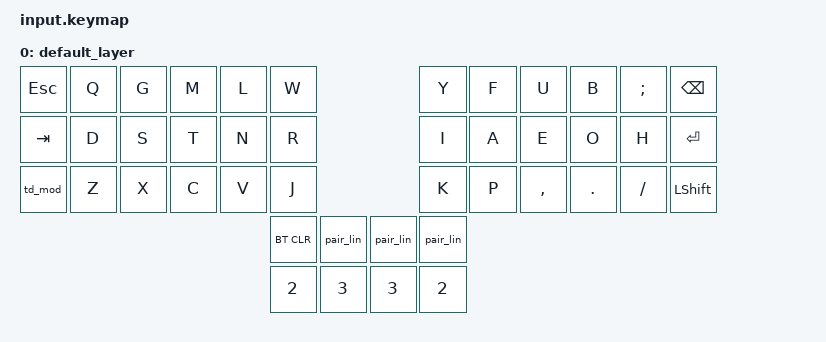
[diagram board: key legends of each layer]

#include <behaviors.dtsi>
#include <dt-bindings/zmk/keys.h>
#include <dt-bindings/zmk/bt.h>
#include <dt-bindings/zmk/reset.h>
#include <dt-bindings/zmk/ext_power.h>  

#define RIGHT_HAND_KEYS <6 7 8 9 10 11 18 19 20 21 22 23 30 31 32 33 34 35>
#define LEFT_HAND_KEYS <0 1 2 3 4 5 12 13 14 15 16 17 24 25 26 27 28 29>
#define HRM_TAPPING_TERM_MS 200
#define HRM_QUICK_TAP_MS 150

//Layers
#define NAV 2
#define SYM 3
#define SLACK_REACT 4
#define FUN 5
#define NUM 6
#define MEDIA 7
#define SYSTEM 8

/*
Thumb Key Guide

LTHUMB            RTHUMB
┌───┬───┐      ┌───┬───┐
│ 0 │ 1 │      │ 1 │ 0 │
├───┼───┤      ├───┼───┤
│ 2 │ 3 │      │ 3 │ 2 │
└───┴───┘      └───┴───┘
*/
#define LTHUMB0 36
#define LTHUMB1 37
#define RTHUMB1 38
#define RTHUMB0 39
#define LTHUMB2 40
#define LTHUMB3 41
#define RTHUMB3 42
#define RTHUMB2 43


/ {
     macros {
        pair_mac: pair_mac {
            label = "Pair_Mac";
            compatible = "zmk,behavior-macro";
            #binding-cells = <0>;
            bindings = <&bt BT_SEL 1>, <&metaset 1> ;
        };
        pair_lin: pair_lin {
            label = "Pair_Linux";
            compatible = "zmk,behavior-macro";
            #binding-cells = <0>;
            bindings = <&bt BT_SEL 0>, <&metaset 0>;
        };

        // ac_config: ac_config {
        //     label = "auto_complete_config";
        //     compatible = "zmk,behavior-macro";
        //     #binding-cells = <0>;
        //     bindings = <&kp O &kp N &kp F &kp I &kp G &kp U &kp R &kp A &kp T &kp I &kp O &kp N>;
        // };
        // ac_query: ac_query {
        //     label = "auto_complete_query";
        //     compatible = "zmk,behavior-macro";
        //     #binding-cells = <0>;
        //     bindings = <&kp U &kp E &kp R &kp Y>;
        // };
        // ac_object: ac_object {
        //     label = "auto_complete_object";
        //     compatible = "zmk,behavior-macro";
        //     #binding-cells = <0>;
        //     bindings = <&kp B &kp J &kp E &kp C &kp T>;
        // };
        // ac_which: ac_which {
        //     label = "auto_complete_which";
        //     compatible = "zmk,behavior-macro";
        //     #binding-cells = <0>;
        //     bindings = <&kp H &kp I &kp C &kp H>;
        // };
    };

    behaviors {        
        // tap dance mods
        td_mod: tap_dance_mod_tap {
            compatible = "zmk,behavior-tap-dance";
            label = "TAP_DANCE_MOD_TAP";
            #binding-cells = <0>;
            tapping-term-ms = <200>;
            bindings = <&meta LCTL LGUI>, <&meta LALT LCTL>, <&meta LGUI LALT>;
        };

        // magic: magic_key {
        //     compatible = "zmk,behavior-antecedent-morph";
        //     label = "MAGIC_KEY";
        //     #binding-cells = <0>;
        //     defaults = <&td_mod>;
        //     antecedents = <B L D C V N R T S G X Q M W Z J F O U Y H A E I K P>;
        //     bindings = 
        //                /*B*/<&kp R>,//
        //                /*L*/<&kp W>,//
        //                /*D*/<&kp G>,//
        //                /*C*/<&ac_config>,//
        //                /*V*/<&kp S>,//

        //                /*N*/<&kp G>,//
        //                /*R*/<&kp L>,//
        //                /*T*/<&kp T>,//
        //                /*S*/<&kp C>,//
        //                /*G*/<&kp N>,// alt: R


        //                /*X*/<&kp C>,//
        //                /*Q*/<&ac_query>,//alt: U, L
        //                /*M*/<&kp T>,//
        //                /*W*/<&ac_which>,//
        //                /*Z*/<&kp S>,//alt: L

        //                /*J*/<&kp I>,//alt: U
        //                /*F*/<&kp Y>,//alt: I
        //                /*O*/<&ac_object>,//
        //                /*U*/<&kp E>,//

        //                /*Y*/<&kp P>,//alt: I
        //                /*H*/<&kp Y>,//
        //                /*A*/<&kp O>,//
        //                /*E*/<&kp Y>,//alt: P
        //                /*I*/<&kp F>,//alt: P

        //                /*P*/<&kp H>,//
        //                /*K*/<&kp Y>//
        //                ;
        //     max-delay-ms = <250>;
        // };
    };

    // combos {
    //     /*
    //     Thumb Key Guide
        
    //     LTHUMB            RTHUMB
    //     ┌───┬───┐      ┌───┬───┐
    //     │ 0 │ 1 │      │ 1 │ 0 │
    //     ├───┼───┤      ├───┼───┤
    //     │ 2 │ 3 │      │ 3 │ 2 │
    //     └───┴───┘      └───┴───┘
    //     */
    //     compatible = "zmk,combos";
    //     combo_slack_react {
    //         /*
    //         ┌───┬───┐      ┌───┬───┐
    //         │   │   │      │   │   │
    //         ├───┼───┤      ├───┼───┤
    //         │ X │   │      │   │ X │
    //         └───┴───┘      └───┴───┘
    //         */
    //         timeout-ms = <50>;
    //         key-positions = <LTHUMB2 RTHUMB2>;
    //         bindings = <&mo SLACK_REACT>;
    //     };
    //     combo_functions {
    //         /*
    //         ┌───┬───┐      ┌───┬───┐
    //         │   │   │      │   │   │
    //         ├───┼───┤      ├───┼───┤
    //         │   │ X │      │ X │   │
    //         └───┴───┘      └───┴───┘
    //         */
    //         timeout-ms = <50>;
    //         key-positions = <LTHUMB3 RTHUMB3>;
    //         bindings = <&mo FUN>;
    //     };
    //     combo_numbers_l {
    //         /*
    //         ┌───┬───┐      ┌───┬───┐
    //         │   │   │      │   │   │
    //         ├───┼───┤      ├───┼───┤
    //         │ X │ X │      │   │   │
    //         └───┴───┘      └───┴───┘
    //         */
    //         timeout-ms = <50>;
    //         key-positions = <LTHUMB2 LTHUMB3>;
    //         bindings = <&mo NUM>;
    //     };
    //     combo_numbers_r {
    //         /*
    //         ┌───┬───┐      ┌───┬───┐
    //         │   │   │      │   │   │
    //         ├───┼───┤      ├───┼───┤
    //         │   │   │      │ X │ X │
    //         └───┴───┘      └───┴───┘
    //         */
    //         timeout-ms = <50>;
    //         key-positions = <RTHUMB2 RTHUMB3>;
    //         bindings = <&mo NUM>;
    //     };
    //     combo_media_r {
    //         /*
    //         ┌───┬───┐      ┌───┬───┐
    //         │   │   │      │   │ X │
    //         ├───┼───┤      ├───┼───┤
    //         │   │   │      │   │ X │
    //         └───┴───┘      └───┴───┘
    //         */
    //         timeout-ms = <50>;
    //         key-positions = <RTHUMB0 RTHUMB2>;
    //         bindings = <&mo MEDIA>;
    //     };
    //     combo_media_l {
    //         /*
    //         ┌───┬───┐      ┌───┬───┐
    //         │ X │   │      │   │   │
    //         ├───┼───┤      ├───┼───┤
    //         │ X │   │      │   │   │
    //         └───┴───┘      └───┴───┘
    //         */
    //         timeout-ms = <50>;
    //         key-positions = <LTHUMB0 LTHUMB2>;
    //         bindings = <&mo MEDIA>;
    //     };
    //     combo_system {
    //         /*
    //         ┌───┬───┐      ┌───┬───┐
    //         │   │   │      │   │   │
    //         ├───┼───┤      ├───┼───┤
    //         │ x │ x │      │ x │ x │
    //         └───┴───┘      └───┴───┘
    //         */
    //         timeout-ms = <50>;
    //         key-positions = <LTHUMB2 LTHUMB3 RTHUMB2 RTHUMB3>;
    //         bindings = <&mo SYSTEM>;
    //     };
    // };

    keymap {
        compatible = "zmk,keymap";

         default_layer {
/*  QGMLWY
    Left Hand                                                     Right Hand
    ┌────────┬────────┬─────────┬────────┬────────┬────────┐      ┌────────┬────────┬────────┬────────┬────────┬────────┐
    │  ESC   │    Q   │   G     │   M    │   L    │   W    │      │    Y   │   F    │   U    │    B   │   ;    │ BKSPC  │
    ├────────┼────────┼─────────┼────────┼────────┼────────┤      ├────────┼────────┼────────┼────────┼────────┼────────┤
    │  TAB   │    D   │   S     │   T    │   N    │   R    |      │    I   │   A    │   E    │    O   │   H    │ ENTER  │
    ├────────┼────────┼─────────┼────────┼────────┼────────┤      ├────────┼────────┼────────┼────────┼────────┼────────┤
    │Ctrl/Cmd│    Z   │   X     │   C    │   V    │   J    │      │    K   │   P    │   , <  │  . >   │   / ?  │Ctrl/Cmd│
    └────────┴────────┴─────────┴────────┴────────┴────────┘      └────────┴────────┴────────┴────────┴────────┴────────┘

 */
                        bindings = <
&kp  ESC  &kp Q  &kp G  &kp M  &kp L  &kp W                                           &kp Y  &kp F  &kp U      &kp B    &kp SEMI   &kp BSPC
&kp  TAB  &kp D  &kp S  &kp T  &kp N  &kp R                                           &kp I  &kp A  &kp E      &kp O    &kp H      &kp ENTER
&td_mod   &kp Z  &kp X  &kp C  &kp V  &kp J                                           &kp K  &kp P  &kp COMMA  &kp DOT  &kp SLASH  &kp LSHIFT

                                            &bt BT_CLR    &pair_lin  &pair_lin  &pair_lin
                                            &kp N2   &kp N3    &kp N3    &kp N2
                                            /* &magic    &kp SPACE  &kp SPACE  &kp RSHIFT
                                             &mo SYM   &mo NAV    &mo NAV    &mo SYM*/
            >;
        };

//          galliumv2 {
// /*  QGMLWY
//     Left Hand                                                     Right Hand
//     ┌────────┬────────┬─────────┬────────┬────────┬────────┐      ┌────────┬────────┬────────┬────────┬────────┬────────┐
//     │  ESC   │    B   │   L     │   D    │   C    │   V    │      │    J   │   F    │    O   │    U   │   ;    │ BKSPC  │
//     ├────────┼────────┼─────────┼────────┼────────┼────────┤      ├────────┼────────┼────────┼────────┼────────┼────────┤
//     │  TAB   │    N   │   R     │   T    │   S    │   G    |      │    Y   │   H    │    A   │    E   │   I    │ ENTER  │
//     ├────────┼────────┼─────────┼────────┼────────┼────────┤      ├────────┼────────┼────────┼────────┼────────┼────────┤
//     │Ctrl/Cmd│    X   │   Q     │   M    │   W    │   Z    │      │    K   │   P    │    .   │    ,   │   / ?  │Ctrl/Cmd│
//     └────────┴────────┴─────────┴────────┴────────┴────────┘      └────────┴────────┴────────┴────────┴────────┴────────┘

//  */
//                         bindings = <
// &trans   &kp B  &kp L  &kp D  &kp C   &kp V                                             &kp J  &kp F   &kp O    &kp U      &kp SEMI   &trans
// &trans   &kp N  &kp R  &kp T  &kp S   &kp G                                             &kp Y  &kp H   &kp A    &kp E      &kp I      &trans
// &trans   &kp X  &kp Q  &kp M  &kp W   &kp Z                                             &kp K  &kp P   &kp DOT  &kp COMMA  &kp SLASH  &trans
//                                             &trans     &trans        &trans     &trans
//                                             &trans     &trans        &trans     &trans
//             >;
//         };

//         navigation {
// /*
// /* Navigation
//     ┌────────┬─────────┬─────────┬─────────┬─────────┬─────────┐      ┌────────┬─────────┬─────────┬─────────┬─────────┬────────┐
//     │        │ shift+` │backspace│   UP    │   DEL   │ctl/alt+K│      │        │   HOME  │   undo  │   redo  │scrnshot │        │
//     ├────────┼─────────┼─────────┼─────────┼─────────┼─────────┤      ├────────┼─────────┼─────────┼─────────┼─────────┼────────┤
//     │        |shift+tab│   left  │  down   │  right  │ctl/alt+J|      │        │   END   │ alt/cmd │ctrl/alt │  shift  │        │
//     ├────────┼─────────┼─────────┼─────────┼─────────┼─────────┤      ├────────┼─────────┼─────────┼─────────┼─────────┼────────┤
//     │        │         │   CUT   │  COPY   │  PASTE  │         │      │        │         │         │         │         │        │
//     └────────┴─────────┴─────────┴─────────┴─────────┴─────────┘      └────────┴─────────┴─────────┴─────────┴─────────┴────────┘

//  */
//                         bindings = <
// &trans   &kp LS(GRAVE)  &kp BSPC           &kp UP             &kp DEL            &meta LC(K) LA(K)                                  &none   &kp HOME &meta LC(Z) LG(Z) &meta LC(Y) LG(Y) &meta PSCRN LC(LG(LS(N4)))  &trans
// &trans   &kp  LS(TAB)   &kp LEFT           &kp DOWN           &kp RIGHT          &meta LC(J) LA(J)                                  &none   &kp END  &meta LALT LGUI   &meta LCTL LALT   &kp LSHIFT                  &trans
// &trans   &none          &meta LC(X) LG(X)  &meta LC(C) LG(C)  &meta LC(V) LG(V)  &none                                              &none   &none    &none             &none             &none                       &trans
//                                                                                           &trans  &trans            &trans  &trans
//                                                                                           &trans  &trans            &trans  &trans
//             >;
//         };



//         symbols {
// /*
//     Left Hand                                                     Right Hand
//     ┌────────┬────────┬─────────┬────────┬────────┬────────┐      ┌────────┬────────┬────────┬────────┬────────┬────────┐
//     │        │    ^   │   \     │   *    │   :    │   &    │      │    `   │   $    │   [    │    ]   │   %    │        │
//     ├────────┼────────┼─────────┼────────┼────────┼────────┤      ├────────┼────────┼────────┼────────┼────────┼────────┤
//     │        │    !   │   -     │   +    │   =    │   |    |      │    "   │   (    │   {    │    }   │   )    │        │
//     ├────────┼────────┼─────────┼────────┼────────┼────────┤      ├────────┼────────┼────────┼────────┼────────┼────────┤
//     │        │    ~   │   #     │   <    │   >    │   @    │      │    '   │   ?    │    .   │    ,   │   /    │        │
//     └────────┴────────┴─────────┴────────┴────────┴────────┘      └────────┴────────┴────────┴────────┴────────┴────────┘
//  */
//                         bindings = <
// &trans         &kp CARET  &kp BSLH   &kp ASTRK  &kp COLON  &kp AMPS                                      &kp GRAVE  &kp DOLLAR  &kp LBKT  &kp RBKT   &kp PERCENT   &trans
// &trans         &kp EXCL   &kp MINUS  &kp PLUS   &kp EQUAL  &kp PIPE                                      &kp DQT    &kp LPAR    &kp LBRC  &kp RBRC   &kp RPAR      &trans
// &trans         &kp TILDE  &kp POUND  &kp LT     &kp GT     &kp AT                                        &kp QUOT   &kp QMARK   &kp DOT   &kp COMMA  &kp SLASH     &trans
//                                                                      &trans  &trans     &trans  &trans
//                                                                      &trans  &trans     &trans  &trans
//             >;
//         };

//         slack_react {  // common n-grams:   <>   />   ="  `${   ={   ()   =>
// /*
//     Left Hand                                                     Right Hand
//     ┌────────┬────────┬─────────┬────────┬────────┬────────┐      ┌────────┬────────┬────────┬────────┬────────┬────────┐
//     │        │    `   │    @    │    #   │    "   │        │      │        │        │    (   │    )   │        │        │
//     ├────────┼────────┼─────────┼────────┼────────┼────────┤      ├────────┼────────┼────────┼────────┼────────┼────────┤
//     │        │    =   |    $    │    {   │    }   │        │      |        │   /    │   <    │    >   │    _   │        |
//     ├────────┼────────┼─────────┼────────┼────────┼────────┤      ├────────┼────────┼────────┼────────┼────────┼────────┤
//     │        │        │         │        │        │        │      │        │        │        │        │        │        │
//     └────────┴────────┴─────────┴────────┴────────┴────────┘      └────────┴────────┴────────┴────────┴────────┴────────┘
//  */
//                         bindings = <
// &trans         &kp GRAVE   &kp AT       &kp POUND  &kp DQT   &none                                    &none  &none       &kp LPAR  &kp RPAR   &none      &trans
// &trans         &kp EQUAL   &kp DOLLAR   &kp RBKT   &kp LBKT  &none                                    &none  &kp SLASH   &kp LT    &kp GT     &kp UNDER  &trans
// &trans         &none       &none        &none      &none     &none                                    &none  &none       &none     &none      &none      &trans
//                                                                    &trans  &trans      &trans  &trans
//                                                                    &trans  &trans      &trans  &trans
//             >;
//         };

//         functions {
// /*
//     Left Hand                                                     Right Hand
//     ┌────────┬────────┬────────┬────────┬────────┬────────┐      ┌────────┬────────┬────────┬────────┬────────┬────────┐
//     │        │   F1   │   F2   │   F3   │   F4   │ XXXXXX │      │ XXXXXX │   F1   │   F2   │   F3   │   F4   │        │
//     ├────────┼────────┼────────┼────────┼────────┼────────┤      ├────────┼────────┼────────┼────────┼────────┼────────┤
//     │        │   F5   │   F6   │   F7   │   F8   │ XXXXXX │      │ XXXXXX │   F5   │   F6   │   F7   │   F8   │        │
//     ├────────┼────────┼────────┼────────┼────────┼────────┤      ├────────┼────────┼────────┼────────┼────────┼────────┤
//     │        │   F9   │   F10  │   F11  │   F12  │ XXXXXX │      │ XXXXXX │   F9   │   F10  │   F11  │   F12  │        │
//     └────────┴────────┴────────┴────────┴────────┴────────┘      └────────┴────────┴────────┴────────┴────────┴────────┘
//  */
//                         bindings = <
// &trans    &kp F1   &kp F2    &kp F3   &kp F4   &none                                          &none        &kp F1  &kp F2   &kp F3    &kp F4   &none
// &trans    &kp F5   &kp F6    &kp F7   &kp F8   &none                                          &none        &kp F5  &kp F6   &kp F7    &kp F8   &none
// &trans    &kp F9   &kp F10   &kp F11  &kp F12  &none                                          &none        &kp F9  &kp F10  &kp F11   &kp F12  &none
//                                                      &trans  &trans            &trans  &trans
//                                                      &trans  &trans            &trans  &trans
//             >;
//         };

//         numbers {
// /*
//     Left Hand                                                     Right Hand
//     ┌────────┬────────┬─────────┬────────┬────────┬────────┐      ┌────────┬────────┬────────┬────────┬────────┬────────┐
//     │        │    0   │    1    │   2    │    3   │   +    │      │   +    │   0    │   1    │   2    │   3    │        │
//     ├────────┼────────┼─────────┼────────┼────────┼────────┤      ├────────┼────────┼────────┼────────┼────────┼────────┤
//     │        │    .   │    4    │   5    │    6   │   =    |      │   =    │   .    │   4    │   5    │   6    │        │
//     ├────────┼────────┼─────────┼────────┼────────┼────────┤      ├────────┼────────┼────────┼────────┼────────┼────────┤
//     │        │    $   │    7    │   8    │    9   │   -    │      │   -    │   $    │   7    │   8    │   9    │        │
//     └────────┴────────┴─────────┴────────┴────────┴────────┘      └────────┴────────┴────────┴────────┴────────┴────────┘

//  */
//                         bindings = <
// &none         &kp N0      &kp  N1  &kp N2  &kp N3  &kp PLUS                                  &kp PLUS  &kp N0      &kp N1  &kp N2  &kp N3  &none
// &none         &kp DOT     &kp  N4  &kp N5  &kp N6  &kp EQUAL                                 &kp EQUAL &kp DOT     &kp N4  &kp N5  &kp N6  &none
// &none         &kp DOLLAR  &kp  N7  &kp N8  &kp N9  &kp MINUS                                 &kp MINUS &kp DOLLAR  &kp N7  &kp N8  &kp N9  &none
//                                                              &trans  &trans   &trans  &trans
//                                                              &trans  &trans   &trans  &trans
//             >;
//         };

//         media {
// /*
//     Left Hand                                                     Right Hand
//     ┌────────┬────────┬─────────┬────────┬────────┬────────┐      ┌────────┬────────┬────────┬────────┬────────┬────────┐
//     │ VOL-   │  VOL+  │ XXXXXXX │ XXXXXX │ XXXXXX │ XXXXXX │      │ XXXXXX │ XXXXXX │ XXXXXX │ XXXXXX │ VOL-   │  VOL+  │
//     ├────────┼────────┼─────────┼────────┼────────┼────────┤      ├────────┼────────┼────────┼────────┼────────┼────────┤
//     │  MUTE  │   > || │ XXXXXXX │ XXXXXX │ XXXXXX │ XXXXXX │      │ XXXXXX │ XXXXXX │ XXXXXX │ XXXXXX │  MUTE  │   > || │
//     ├────────┼────────┼─────────┼────────┼────────┼────────┤      ├────────┼────────┼────────┼────────┼────────┼────────┤
//     │  <<    │  >>    │ XXXXXXX │ XXXXXX │ XXXXXX │ XXXXXX │      │ XXXXXX │ XXXXXX │ XXXXXX │ XXXXXX │  <<    │  >>    │
//     └────────┴────────┴─────────┴────────┴────────┴────────┘      └────────┴────────┴────────┴────────┴────────┴────────┘
//  */
//                         bindings = <
// &none   &none   &none   &none  &kp C_VOL_DN  &kp C_VOL_UP                                          &kp C_VOL_DN  &kp C_VOL_UP  &none   &none   &none   &none
// &none   &none   &none   &none  &kp C_MUTE    &kp C_PP                                              &kp C_MUTE    &kp C_PP      &none   &none   &none   &none
// &none   &none   &none   &none  &kp C_PREV    &kp C_NEXT                                            &kp C_PREV    &kp C_NEXT    &none   &none   &none   &none
//                                                          &trans  &trans            &trans  &trans
//                                                          &trans  &trans            &trans  &trans
//             >;
//         };

//         system {
// /*
//     Left Hand                                                     Right Hand
//     ┌────────┬────────┬─────────┬────────┬────────┬────────┐      ┌────────┬────────┬────────┬────────┬────────┬────────┐
//     │ BT CLR │ XXXXXX │ XXXXXXX │ XXXXXX │ XXXXXX │ XXXXXX │      │  BT 1  │  BT 2  │  BT 3  │  BT 4  │  BT 5  │ XXXXXX │
//     ├────────┼────────┼─────────┼────────┼────────┼────────┤      ├────────┼────────┼────────┼────────┼────────┼────────┤
//     │ XXXXXX │ XXXXXX │TOG BASE │ win/lin│  osx   │ XXXXXX │      │ XXXXXX │ XXXXXX │ XXXXXX │ XXXXXX │ XXXXXX │ XXXXXX │
//     ├────────┼────────┼─────────┼────────┼────────┼────────┤      ├────────┼────────┼────────┼────────┼────────┼────────┤
//     │ FLASH  │ XXXXXX │ XXXXXXX │ XXXXXX │ XXXXXX │ XXXXXX │      │ XXXXXX │ XXXXXX │ XXXXXX │ XXXXXX │ XXXXXX │ FLASH  │
//     └────────┴────────┴─────────┴────────┴────────┴────────┘      └────────┴────────┴────────┴────────┴────────┴────────┘
//  */
//                         bindings = <
// &bt BT_CLR  &none        &none        &none           &none        &none                                            &pair_lin    &pair_mac    &bt BT_SEL 2 &bt BT_SEL 3   &bt BT_SEL 4    &none
// &trans      &none        &tog 1       &metaset 0      &metaset 1   &none                                            &none        &none        &none        &none          &none           &none
// &bootloader &none        &none        &none           &none        &none                                            &none        &none        &none        &none          &none           &bootloader
//                                                                          &trans  &trans            &trans  &trans
//                                                                          &trans  &trans            &trans  &trans
//             >;
//         };

//         new {
// /*
//     Left Hand                                                     Right Hand
//     ┌────────┬────────┬─────────┬────────┬────────┬────────┐      ┌────────┬────────┬────────┬────────┬────────┬────────┐
//     │        │        │         │        │        │        │      │        │        │        │        │        │        │
//     ├────────┼────────┼─────────┼────────┼────────┼────────┤      ├────────┼────────┼────────┼────────┼────────┼────────┤
//     │        │        │         │        │        │        |      │        │        │        │        │        │        │
//     ├────────┼────────┼─────────┼────────┼────────┼────────┤      ├────────┼────────┼────────┼────────┼────────┼────────┤
//     │        │        │         │        │        │        │      │        │        │        │        │        │        │
//     └────────┴────────┴─────────┴────────┴────────┴────────┘      └────────┴────────┴────────┴────────┴────────┴────────┘
//  */
//                         bindings = <
// &trans         &none       &none           &none            &none        &none                                                 &none        &none        &none       &none       &none      &trans
// &trans         &none       &none           &none            &none        &none                                                 &none        &none        &none       &none       &none      &trans
// &trans         &none       &none           &none            &none        &none                                                 &none        &none        &none       &none       &none      &trans
//                                                                                 &trans  &trans            &trans  &trans
//                                                                                 &trans  &trans            &trans  &trans
//             >;
//         };
    };
};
